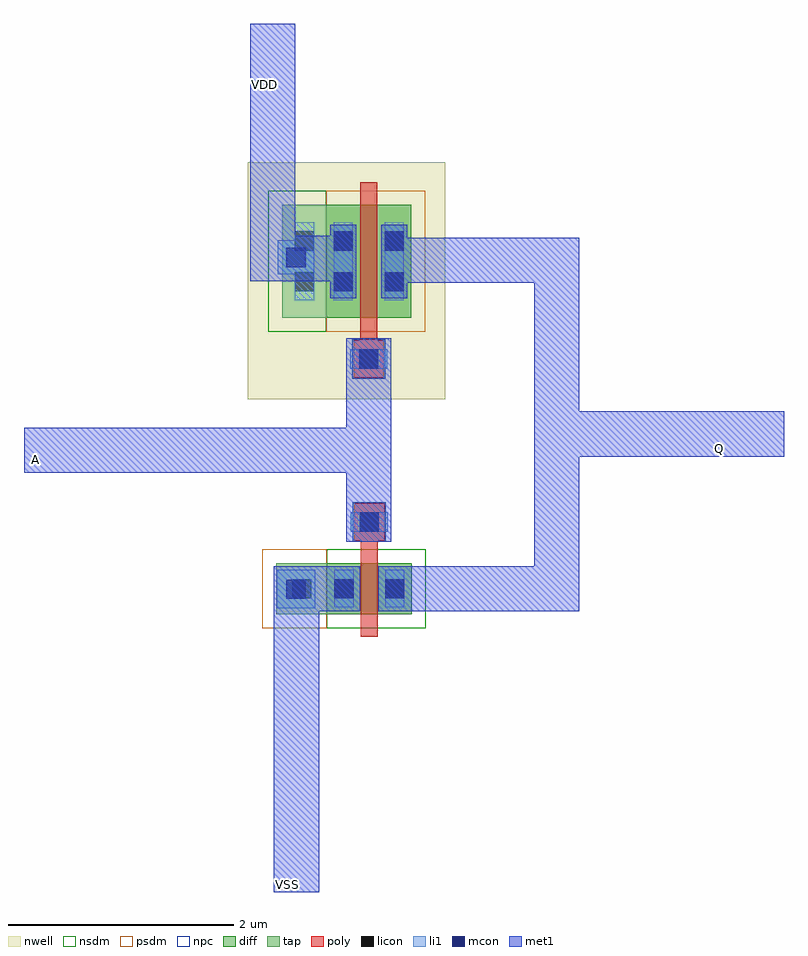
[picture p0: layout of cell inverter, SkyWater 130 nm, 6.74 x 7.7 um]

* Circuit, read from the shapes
.subckt inverter A Q VDD VSS
XM1 Q A VSS VSS sky130_fd_pr__nfet_01v8 w=0.45 l=0.15
XM2 Q A VDD VDD sky130_fd_pr__pfet_01v8 w=1 l=0.15
.ends

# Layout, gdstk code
from math import pi, radians
import gdstk
lib = gdstk.Library(unit=1e-6, precision=5e-09)
def R(c, l, rs):  # rectangles x0, y0, x1, y1
    for r in rs: c.add(gdstk.rectangle(r[:2], r[2:], *l))
nwell = (64, 20)
diff = (65, 20)
tap = (65, 44)
poly = (66, 20)
licon = (66, 44)
li1 = (67, 20)
mcon = (67, 44)
met1 = (68, 20)
nsdm = (93, 44)
psdm = (94, 20)
npc = (95, 20)

nfet = lib.new_cell('nfet')
R(nfet, diff, [(0,0,0.75,0.45)])
R(nfet, tap, [(0.75,0,1.2,0.45)])
R(nfet, poly, [(0.24,-0.53,0.51,-0.2), (0.3,-0.2,0.45,0.65)])
R(nfet, licon, [(0.29,-0.45,0.46,-0.28), (0.065,0.14,0.235,0.31), (0.515,0.14,0.685,0.31), (0.89,0.14,1.06,0.31)])
R(nfet, li1, [(0.21,-0.45,0.54,-0.28), (0.065,0.06,0.235,0.39), (0.515,0.06,0.685,0.39), (0.89,0.06,1.06,0.39)])
R(nfet, mcon, [(0.29,-0.45,0.46,-0.28), (0.065,0.14,0.235,0.31), (0.515,0.14,0.685,0.31)])
R(nfet, met1, [(0.19,-0.48,0.56,-0.25), (0.005,0.08,0.295,0.37), (0.455,0.08,0.745,0.37)])
R(nfet, nsdm, [(-0.125,-0.125,0.75,0.575)])
R(nfet, psdm, [(0.75,-0.125,1.325,0.575)])
R(nfet, npc, [(0.23,-0.54,0.52,-0.19)])

pfet = lib.new_cell('pfet')
R(pfet, nwell, [(-0.305,-0.38,1.445,1.72)])
R(pfet, diff, [(0,0,0.75,1)])
R(pfet, tap, [(0.75,0,1.14,1)])
R(pfet, poly, [(0.3,-0.2,0.45,1.2), (0.24,1.2,0.51,1.53)])
R(pfet, licon, [(0.065,0.235,0.235,0.405), (0.515,0.235,0.685,0.405), (0.86,0.235,1.03,0.405), (0.065,0.595,0.235,0.765), (0.515,0.595,0.685,0.765), (0.86,0.595,1.03,0.765), (0.29,1.28,0.46,1.45)])
R(pfet, li1, [(0.065,0.155,0.235,0.845), (0.515,0.155,0.685,0.845), (0.86,0.155,1.03,0.845), (0.21,1.28,0.54,1.45)])
R(pfet, mcon, [(0.065,0.235,0.235,0.405), (0.515,0.235,0.685,0.405), (0.065,0.595,0.235,0.765), (0.515,0.595,0.685,0.765), (0.29,1.28,0.46,1.45)])
R(pfet, met1, [(0.035,0.175,0.265,0.825), (0.485,0.175,0.715,0.825), (0.19,1.25,0.56,1.48)])
R(pfet, nsdm, [(0.75,-0.125,1.265,1.125)])
R(pfet, psdm, [(-0.125,-0.125,0.75,1.125)])
R(pfet, npc, [(0.23,1.19,0.52,1.54)])

vias_gen = lib.new_cell('vias_gen')
R(vias_gen, li1, [(0,0,0.32,0.3)])
R(vias_gen, mcon, [(0.075,0.065,0.245,0.235)])
R(vias_gen, met1, [(0,0,0.32,0.3)])

vias_gen_1 = lib.new_cell('vias_gen$1')
R(vias_gen_1, li1, [(0,0,0.34,0.34)])
R(vias_gen_1, mcon, [(0.085,0.085,0.255,0.255)])
R(vias_gen_1, met1, [(0,0,0.34,0.34)])

inverter = lib.new_cell('inverter')
inverter.add(gdstk.FlexPath([(0.335,-0.4),(-2.73,-0.4)], 0.4, ends="flush", simple_path=True, layer=68, datatype=20))  # met1
inverter.add(gdstk.FlexPath([(0.57,1.285),(1.99,1.285),(1.99,-1.625),(0.41,-1.625)], 0.4, ends="flush", simple_path=True, layer=68, datatype=20))  # met1
inverter.add(gdstk.FlexPath([(2.02,-0.255),(4.005,-0.255)], 0.4, ends="flush", simple_path=True, layer=68, datatype=20))  # met1
inverter.add(gdstk.FlexPath([(0.25,-1.625),(-0.315,-1.625),(-0.315,-4.315)], 0.4, ends="flush", simple_path=True, layer=68, datatype=20))  # met1
inverter.add(gdstk.FlexPath([(0.195,1.3),(-0.525,1.3),(-0.525,3.38)], 0.4, ends="flush", simple_path=True, layer=68, datatype=20))  # met1
inverter.add(gdstk.FlexPath([(0.325,0.595),(0.325,-1.21)], 0.4, ends="flush", simple_path=True, layer=68, datatype=20))  # met1
inverter.add(gdstk.Reference(nfet, (0.705,-1.4), rotation=pi))
inverter.add(gdstk.Reference(pfet, (0.7,1.775), rotation=pi))
inverter.add(gdstk.Reference(vias_gen, (-0.48,1.16)))
inverter.add(gdstk.Reference(vias_gen_1, (-0.49,-1.8)))
inverter.add(gdstk.Label('Q', (3.435,-0.385), layer=68, texttype=16))
inverter.add(gdstk.Label('A', (-2.625,-0.485), layer=68, texttype=16))
inverter.add(gdstk.Label('VSS', (-0.395,-4.25), layer=68, texttype=16))
inverter.add(gdstk.Label('VDD', (-0.595,2.84), layer=68, texttype=16))

lib.write_gds('inverter.gds')
